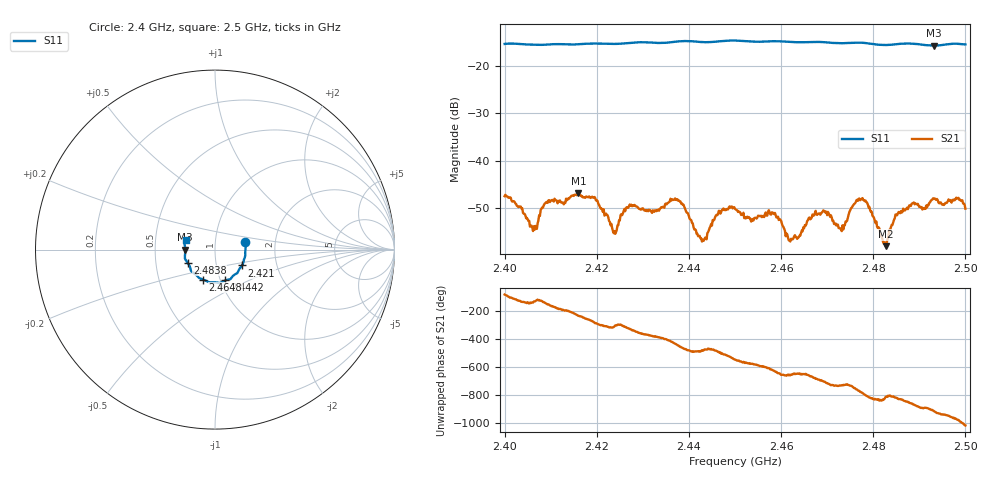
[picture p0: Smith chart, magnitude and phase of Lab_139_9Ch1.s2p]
# Hz S RI R 50
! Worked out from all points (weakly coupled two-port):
!   601 points, 2.4 GHz to 2.5 GHz, reference 50 ohm
!   highest |S21| = -46.89 dB at 2.416 GHz (marker M1); lowest = -58.2 dB at 2.4827 GHz (marker M2)
!   lowest |S11| = -15.6 dB at 2.4932 GHz (marker M3), VSWR 1.40, Z = 35.8 - j0.0885 ohm
!   |S11| at or under -10 dB: start of sweep to end of sweep
!   S12 and S22 are empty: the file has one direction only
!   S11 on the Smith chart (normalised r, x): 2.4 GHz: 1.40, +0.12; 2.421 GHz: 1.33, -0.24; 2.4442 GHz: 1.05, -0.37; 2.4648 GHz: 0.83, -0.29; 2.4838 GHz: 0.73, -0.11; 2.5 GHz: 0.72, +0.08
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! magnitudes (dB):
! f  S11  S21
! 2.4 GHz  -15.2  -47.5
! 2.4065 GHz  -15.4  -54.7
! 2.4092 GHz  -15.4  -48.8
! 2.416 GHz  -15.3  -46.9
! 2.4167 GHz  -15.2  -47.6
! 2.421 GHz  -15.2  -50.1
! 2.4238 GHz  -15.2  -54.9
! 2.427 GHz  -15.1  -49.6
! 2.4333 GHz  -15.0  -50.4
! 2.4375 GHz  -14.7  -48.2
! 2.4442 GHz  -14.9  -55.2
! 2.45 GHz  -14.5  -50.2
! 2.462 GHz  -14.8  -57.2
! 2.4648 GHz  -14.9  -54.1
! 2.4667 GHz  -14.8  -52.0
! 2.473 GHz  -15.1  -54.6
! 2.4778 GHz  -15.0  -48.3
! 2.4827 GHz  -15.5  -58.2
! 2.4833 GHz  -15.5  -55.8
! 2.4838 GHz  -15.4  -54.1
! 2.4932 GHz  -15.6  -48.0
! 2.5 GHz  -15.4  -50.2
